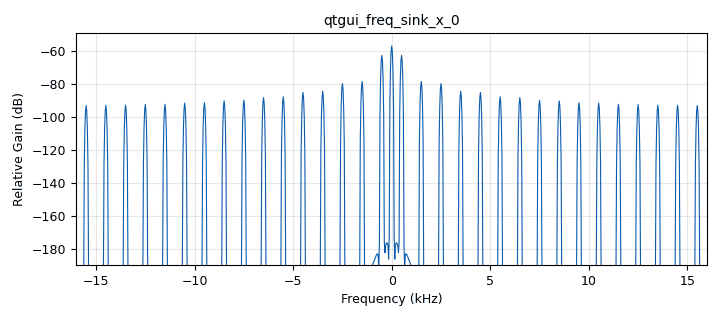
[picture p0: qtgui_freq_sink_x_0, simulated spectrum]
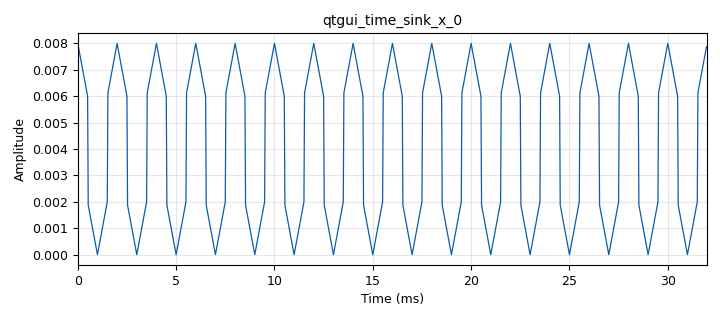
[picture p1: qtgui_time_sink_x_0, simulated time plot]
options:
  parameters:
    generate_options: qt_gui
    id: SegnaleTriangolareSpezzato
    output_language: python
    title: Not titled yet
  states: {}

blocks:
- name: samp_rate
  id: variable
  parameters:
    value: '32000'
  states: {}
- name: analog_sig_source_x_0
  id: analog_sig_source_x
  parameters:
    amp: '0.004'
    freq: '500'
    offset: '0'
    phase: '0'
    samp_rate: samp_rate
    type: float
    waveform: analog.GR_TRI_WAVE
  states: {}
- name: analog_sig_source_x_1
  id: analog_sig_source_x
  parameters:
    amp: '0.004'
    freq: '500'
    offset: '0'
    phase: '4.71238898'
    samp_rate: samp_rate
    type: float
    waveform: analog.GR_SQR_WAVE
  states: {}
- name: blocks_add_xx_0
  id: blocks_add_xx
  parameters:
    type: float
  states: {}
- name: blocks_throttle_0
  id: blocks_throttle
  parameters:
    samples_per_second: samp_rate
    type: float
  states: {}
- name: qtgui_freq_sink_x_0
  id: qtgui_freq_sink_x
  parameters:
    autoscale: 'True'
    bw: samp_rate
    fc: '0'
    fftsize: '1024'
    type: float
  states: {}
- name: qtgui_time_sink_x_0
  id: qtgui_time_sink_x
  parameters:
    autoscale: 'True'
    size: '1024'
    srate: samp_rate
    type: float
  states: {}

connections:
- [analog_sig_source_x_0, '0', blocks_add_xx_0, '0']
- [analog_sig_source_x_1, '0', blocks_add_xx_0, '1']
- [blocks_add_xx_0, '0', blocks_throttle_0, '0']
- [blocks_throttle_0, '0', qtgui_freq_sink_x_0, '0']
- [blocks_throttle_0, '0', qtgui_time_sink_x_0, '0']

metadata:
  file_format: 1
  grc_version: 3.10.6.0
